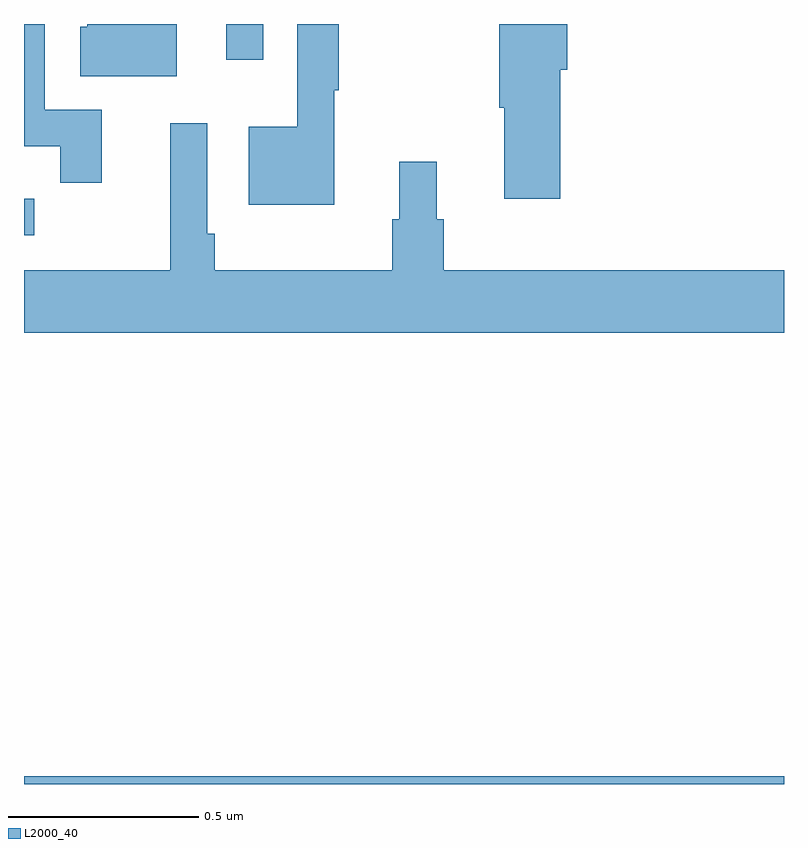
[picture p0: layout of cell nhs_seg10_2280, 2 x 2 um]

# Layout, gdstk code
import gdstk
lib = gdstk.Library(unit=1e-6, precision=1e-09)
def R(c, l, rs):  # rectangles x0, y0, x1, y1
    for r in rs: c.add(gdstk.rectangle(r[:2], r[2:], *l))
def P(c, l, *ps):  # polygons
    for p in ps: c.add(gdstk.Polygon(p, *l))
L2000_40 = (2000, 40)

nhs_seg10_2280 = lib.new_cell('nhs_seg10_2280')
R(nhs_seg10_2280, L2000_40, [(139,1260.5,141,1260.52), (139,1261.944,139.027,1262.04), (139.532,1262.406,139.629,1262.5)])
P(nhs_seg10_2280, L2000_40, [(139.205,1262.274),(139.054,1262.274),(139.054,1262.5),(139,1262.5),(139,1262.178),(139.096,1262.178),(139.096,1262.082),(139.205,1262.082)],
  [(140.411,1262.379),(140.429,1262.379),(140.429,1262.5),(140.251,1262.5),(140.251,1262.279),(140.264,1262.279),(140.264,1262.04),(140.411,1262.04)],
  [(139.402,1262.5),(139.166,1262.5),(139.166,1262.493),(139.148,1262.493),(139.148,1262.363),(139.402,1262.363)],
  [(139.816,1262.326),(139.828,1262.326),(139.828,1262.5),(139.719,1262.5),(139.719,1262.23),(139.592,1262.23),(139.592,1262.024),(139.816,1262.024)],
  [(141,1261.852),(140.105,1261.852),(140.105,1261.986),(140.086,1261.986),(140.086,1262.137),(139.988,1262.137),(139.988,1261.986),(139.969,1261.986),(139.969,1261.852),(139.502,1261.852),(139.502,1261.948),(139.482,1261.948),(139.482,1262.239),(139.385,1262.239),(139.385,1261.852),(139,1261.852),(139,1261.688),(141,1261.688)])

lib.write_gds('nhs_seg10_2280.gds')
